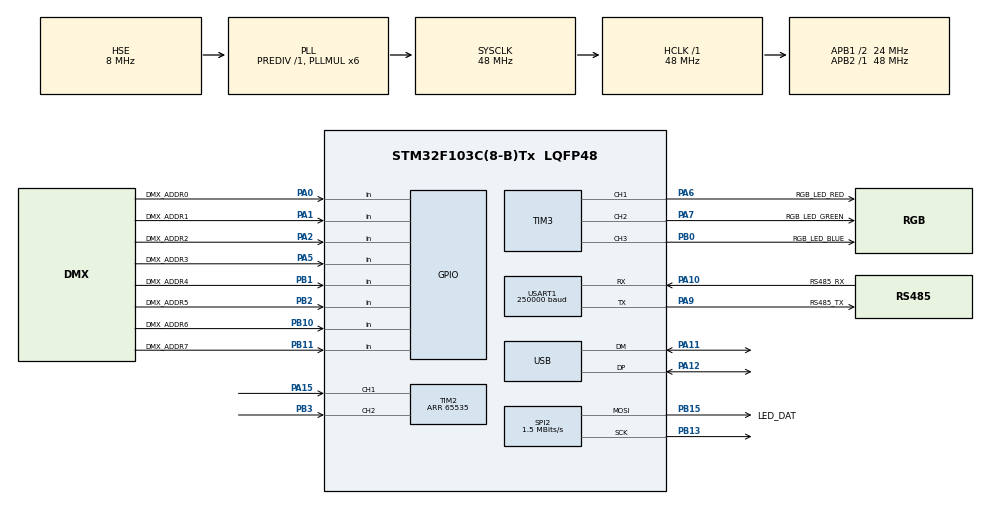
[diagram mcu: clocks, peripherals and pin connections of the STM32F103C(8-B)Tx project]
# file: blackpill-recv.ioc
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Mcu.Family=STM32F1
Mcu.Name=STM32F103C(8-B)Tx
Mcu.Package=LQFP48
NVIC.PriorityGroup=NVIC_PRIORITYGROUP_4
NVIC.TIM2_IRQn=true\:0\:0\:false\:false\:true\:true\:true\:true
NVIC.USART1_IRQn=true\:0\:0\:false\:false\:true\:true\:true\:true
NVIC.USB_LP_CAN1_RX0_IRQn=true\:0\:0\:false\:false\:true\:false\:true\:true
PA0-WKUP.GPIO_Label=DMX_ADDR0
PA0-WKUP.Signal=GPIO_Input
PA1.GPIO_Label=DMX_ADDR1
PA1.Signal=GPIO_Input
PA10.GPIO_Label=RS485_RX
PA10.Mode=Asynchronous
PA10.Signal=USART1_RX
PA11.Mode=Device
PA11.Signal=USB_DM
PA12.Mode=Device
PA12.Signal=USB_DP
PA13.Mode=Serial_Wire
PA13.Signal=SYS_JTMS-SWDIO
PA14.Mode=Serial_Wire
PA14.Signal=SYS_JTCK-SWCLK
PA15.Signal=S_TIM2_CH1_ETR
PA2.GPIO_Label=DMX_ADDR2
PA2.Signal=GPIO_Input
PA5.GPIO_Label=DMX_ADDR3
PA5.Signal=GPIO_Input
PA6.GPIO_Label=RGB_LED_RED
PA6.Signal=S_TIM3_CH1
PA7.GPIO_Label=RGB_LED_GREEN
PA7.Signal=S_TIM3_CH2
PA9.GPIO_Label=RS485_TX
PA9.Mode=Asynchronous
PA9.Signal=USART1_TX
PB0.GPIO_Label=RGB_LED_BLUE
PB0.Signal=S_TIM3_CH3
PB1.GPIO_Label=DMX_ADDR4
PB1.Signal=GPIO_Input
PB10.GPIO_Label=DMX_ADDR6
PB10.Signal=GPIO_Input
PB11.GPIO_Label=DMX_ADDR7
PB11.Signal=GPIO_Input
PB13.Mode=TX_Only_Simplex_Unidirect_Master
PB13.Signal=SPI2_SCK
PB15.GPIO_Label=LED_DAT
PB15.Mode=TX_Only_Simplex_Unidirect_Master
PB15.Signal=SPI2_MOSI
PB2.GPIO_Label=DMX_ADDR5
PB2.Signal=GPIO_Input
PB3.Signal=S_TIM2_CH2
PC14-OSC32_IN.Mode=LSE-External-Oscillator
PC14-OSC32_IN.Signal=RCC_OSC32_IN
PC15-OSC32_OUT.Mode=LSE-External-Oscillator
PC15-OSC32_OUT.Signal=RCC_OSC32_OUT
PD0-OSC_IN.Mode=HSE-External-Oscillator
PD0-OSC_IN.Signal=RCC_OSC_IN
PD1-OSC_OUT.Mode=HSE-External-Oscillator
PD1-OSC_OUT.Signal=RCC_OSC_OUT
ProjectManager.HeapSize=0x600
ProjectManager.StackSize=0x400
ProjectManager.TargetToolchain=CMake
RCC.ADCPresc=RCC_ADCPCLK2_DIV4
RCC.AHBFreq_Value=48000000
RCC.APB1CLKDivider=RCC_HCLK_DIV2
RCC.APB1Freq_Value=24000000
RCC.APB1TimFreq_Value=48000000
RCC.APB2Freq_Value=48000000
RCC.APB2TimFreq_Value=48000000
RCC.HCLKFreq_Value=48000000
RCC.PLLMUL=RCC_PLL_MUL6
RCC.SYSCLKFreq_VALUE=48000000
RCC.SYSCLKSource=RCC_SYSCLKSOURCE_PLLCLK
RCC.USBFreq_Value=48000000
SH.S_TIM2_CH1_ETR.0=TIM2_CH1,Input_Capture1_from_TI1
SH.S_TIM2_CH2.0=TIM2_CH2,Input_Capture2_from_TI2
SH.S_TIM3_CH1.0=TIM3_CH1,PWM Generation1 CH1
SH.S_TIM3_CH2.0=TIM3_CH2,PWM Generation2 CH2
SH.S_TIM3_CH3.0=TIM3_CH3,PWM Generation3 CH3
SPI2.BaudRatePrescaler=SPI_BAUDRATEPRESCALER_16
SPI2.CLKPhase=SPI_PHASE_2EDGE
SPI2.CLKPolarity=SPI_POLARITY_HIGH
SPI2.CalculateBaudRate=1.5 MBits/s
SPI2.Direction=SPI_DIRECTION_2LINES
SPI2.Mode=SPI_MODE_MASTER
SPI2.VirtualType=VM_MASTER
TIM2.Channel-Input_Capture1_from_TI1=TIM_CHANNEL_1
TIM2.Channel-Input_Capture2_from_TI2=TIM_CHANNEL_2
TIM2.ICPolarity_CH1=TIM_INPUTCHANNELPOLARITY_FALLING
TIM2.Period=65535
TIM3.Channel-PWM\ Generation1\ CH1=TIM_CHANNEL_1
TIM3.Channel-PWM\ Generation2\ CH2=TIM_CHANNEL_2
TIM3.Channel-PWM\ Generation3\ CH3=TIM_CHANNEL_3
TIM3.ClockDivision=TIM_CLOCKDIVISION_DIV4
TIM3.OCPolarity_1=TIM_OCPOLARITY_LOW
TIM3.OCPolarity_2=TIM_OCPOLARITY_LOW
TIM3.OCPolarity_3=TIM_OCPOLARITY_LOW
USART1.BaudRate=250000
USART1.Mode=MODE_RX
USART1.StopBits=STOPBITS_2
USART1.VirtualMode=VM_ASYNC
USB_DEVICE.CLASS_NAME_FS=CDC
USB_DEVICE.VirtualMode=Cdc
USB_DEVICE.VirtualModeFS=Cdc_FS
VP_TIM2_VS_ClockSourceINT.Mode=Internal
VP_TIM3_VS_ClockSourceINT.Mode=Internal
VP_USB_DEVICE_VS_USB_DEVICE_CDC_FS.Mode=CDC_FS
board=custom

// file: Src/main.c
/* USER CODE BEGIN Header */
/**
  ******************************************************************************
  * @file           : main.c
  * @brief          : Main program body
  ******************************************************************************
  * @attention
  *
  * <h2><center>&copy; Copyright (c) 2020 STMicroelectronics.
  * All rights reserved.</center></h2>
  *
  * This software component is licensed by ST under BSD 3-Clause license,
  * the "License"; You may not use this file except in compliance with the
  * License. You may obtain a copy of the License at:
  *                        opensource.org/licenses/BSD-3-Clause
  *
  ******************************************************************************
  */
/* USER CODE END Header */
#include "main.h"
#include "usb_device.h"

/* USER CODE BEGIN Includes */
#include "core.h"
/* USER CODE END Includes */

SPI_HandleTypeDef hspi2;

TIM_HandleTypeDef htim2;
TIM_HandleTypeDef htim3;

UART_HandleTypeDef huart1;

void SystemClock_Config(void);
static void MX_GPIO_Init(void);
static void MX_TIM2_Init(void);
static void MX_USART1_UART_Init(void);
static void MX_SPI2_Init(void);
static void MX_TIM3_Init(void);

int main(void)
{

  /* MCU Configuration--------------------------------------------------------*/

  /* Reset of all peripherals, Initializes the Flash interface and the Systick. */
  HAL_Init();

  /* Configure the system clock */
  SystemClock_Config();

  /* Initialize all configured peripherals */
  MX_GPIO_Init();
  MX_TIM2_Init();
  MX_USART1_UART_Init();
  MX_USB_DEVICE_Init();
  MX_SPI2_Init();
  MX_TIM3_Init();
  /* USER CODE BEGIN 2 */
  if (!core_init())
    Error_Handler();
  /* USER CODE END 2 */

  /* Infinite loop */
  while (1)
  {

    /* USER CODE BEGIN 3 */
    core_process();
  }
  /* USER CODE END 3 */
}

void SystemClock_Config(void)
{
  RCC_OscInitTypeDef RCC_OscInitStruct = {0};
  RCC_ClkInitTypeDef RCC_ClkInitStruct = {0};
  RCC_PeriphCLKInitTypeDef PeriphClkInit = {0};

  /** Initializes the RCC Oscillators according to the specified parameters
  * in the RCC_OscInitTypeDef structure.
  */
  RCC_OscInitStruct.OscillatorType = RCC_OSCILLATORTYPE_HSE;
  RCC_OscInitStruct.HSEState = RCC_HSE_ON;
  RCC_OscInitStruct.HSEPredivValue = RCC_HSE_PREDIV_DIV1;
  RCC_OscInitStruct.HSIState = RCC_HSI_ON;
  RCC_OscInitStruct.PLL.PLLState = RCC_PLL_ON;
  RCC_OscInitStruct.PLL.PLLSource = RCC_PLLSOURCE_HSE;
  RCC_OscInitStruct.PLL.PLLMUL = RCC_PLL_MUL6;
  if (HAL_RCC_OscConfig(&RCC_OscInitStruct) != HAL_OK)
  {
    Error_Handler();
  }

  /** Initializes the CPU, AHB and APB buses clocks
  */
  RCC_ClkInitStruct.ClockType = RCC_CLOCKTYPE_HCLK|RCC_CLOCKTYPE_SYSCLK
                              |RCC_CLOCKTYPE_PCLK1|RCC_CLOCKTYPE_PCLK2;
  RCC_ClkInitStruct.SYSCLKSource = RCC_SYSCLKSOURCE_PLLCLK;
  RCC_ClkInitStruct.AHBCLKDivider = RCC_SYSCLK_DIV1;
  RCC_ClkInitStruct.APB1CLKDivider = RCC_HCLK_DIV2;
  RCC_ClkInitStruct.APB2CLKDivider = RCC_HCLK_DIV1;

  if (HAL_RCC_ClockConfig(&RCC_ClkInitStruct, FLASH_LATENCY_1) != HAL_OK)
  {
    Error_Handler();
  }
  PeriphClkInit.PeriphClockSelection = RCC_PERIPHCLK_USB;
  PeriphClkInit.UsbClockSelection = RCC_USBCLKSOURCE_PLL;
  if (HAL_RCCEx_PeriphCLKConfig(&PeriphClkInit) != HAL_OK)
  {
    Error_Handler();
  }
}

static void MX_SPI2_Init(void)
{

  /* SPI2 parameter configuration*/
  hspi2.Instance = SPI2;
  hspi2.Init.Mode = SPI_MODE_MASTER;
  hspi2.Init.Direction = SPI_DIRECTION_2LINES;
  hspi2.Init.DataSize = SPI_DATASIZE_8BIT;
  hspi2.Init.CLKPolarity = SPI_POLARITY_HIGH;
  hspi2.Init.CLKPhase = SPI_PHASE_2EDGE;
  hspi2.Init.NSS = SPI_NSS_SOFT;
  hspi2.Init.BaudRatePrescaler = SPI_BAUDRATEPRESCALER_16;
  hspi2.Init.FirstBit = SPI_FIRSTBIT_MSB;
  hspi2.Init.TIMode = SPI_TIMODE_DISABLE;
  hspi2.Init.CRCCalculation = SPI_CRCCALCULATION_DISABLE;
  hspi2.Init.CRCPolynomial = 10;
  if (HAL_SPI_Init(&hspi2) != HAL_OK)
  {
    Error_Handler();
  }

}

static void MX_TIM2_Init(void)
{

  TIM_ClockConfigTypeDef sClockSourceConfig = {0};
  TIM_MasterConfigTypeDef sMasterConfig = {0};
  TIM_IC_InitTypeDef sConfigIC = {0};

  /* USER CODE BEGIN TIM2_Init 1 */
   __HAL_TIM_DISABLE_IT(&htim2, TIM_IT_CC1);
  __HAL_TIM_DISABLE_IT(&htim2, TIM_IT_CC2);
  /* USER CODE END TIM2_Init 1 */
  htim2.Instance = TIM2;
  htim2.Init.Prescaler = 0;
  htim2.Init.CounterMode = TIM_COUNTERMODE_UP;
  htim2.Init.Period = 65535;
  htim2.Init.ClockDivision = TIM_CLOCKDIVISION_DIV1;
  htim2.Init.AutoReloadPreload = TIM_AUTORELOAD_PRELOAD_DISABLE;
  if (HAL_TIM_Base_Init(&htim2) != HAL_OK)
  {
    Error_Handler();
  }
  sClockSourceConfig.ClockSource = TIM_CLOCKSOURCE_INTERNAL;
  if (HAL_TIM_ConfigClockSource(&htim2, &sClockSourceConfig) != HAL_OK)
  {
    Error_Handler();
  }
  if (HAL_TIM_IC_Init(&htim2) != HAL_OK)
  {
    Error_Handler();
  }
  sMasterConfig.MasterOutputTrigger = TIM_TRGO_RESET;
  sMasterConfig.MasterSlaveMode = TIM_MASTERSLAVEMODE_DISABLE;
  if (HAL_TIMEx_MasterConfigSynchronization(&htim2, &sMasterConfig) != HAL_OK)
  {
    Error_Handler();
  }
  sConfigIC.ICPolarity = TIM_INPUTCHANNELPOLARITY_FALLING;
  sConfigIC.ICSelection = TIM_ICSELECTION_DIRECTTI;
  sConfigIC.ICPrescaler = TIM_ICPSC_DIV1;
  sConfigIC.ICFilter = 0;
  if (HAL_TIM_IC_ConfigChannel(&htim2, &sConfigIC, TIM_CHANNEL_1) != HAL_OK)
  {
    Error_Handler();
  }
  sConfigIC.ICPolarity = TIM_INPUTCHANNELPOLARITY_RISING;
  if (HAL_TIM_IC_ConfigChannel(&htim2, &sConfigIC, TIM_CHANNEL_2) != HAL_OK)
  {
    Error_Handler();
  }
  /* USER CODE BEGIN TIM2_Init 2 */
  __HAL_TIM_ENABLE_IT(&htim2, TIM_IT_UPDATE);

  TIM_CCxChannelCmd(htim2.Instance, TIM_CHANNEL_1, TIM_CCx_ENABLE);
  TIM_CCxChannelCmd(htim2.Instance, TIM_CHANNEL_2, TIM_CCx_ENABLE);

  __HAL_TIM_DISABLE_IT(&htim2, TIM_IT_CC1);
  __HAL_TIM_DISABLE_IT(&htim2, TIM_IT_CC2);

  __HAL_TIM_CLEAR_FLAG(&htim2, TIM_IT_CC1);
  __HAL_TIM_CLEAR_FLAG(&htim2, TIM_IT_CC2);

  __HAL_TIM_ENABLE(&htim2);

  HAL_NVIC_SetPriority(TIM2_IRQn, 0, 0);
  HAL_NVIC_EnableIRQ(TIM2_IRQn);
  /* USER CODE END TIM2_Init 2 */

}

static void MX_TIM3_Init(void)
{

  TIM_ClockConfigTypeDef sClockSourceConfig = {0};
  TIM_MasterConfigTypeDef sMasterConfig = {0};
  TIM_OC_InitTypeDef sConfigOC = {0};

  htim3.Instance = TIM3;
  htim3.Init.Prescaler = 0;
  htim3.Init.CounterMode = TIM_COUNTERMODE_UP;
  htim3.Init.Period = 65535;
  htim3.Init.ClockDivision = TIM_CLOCKDIVISION_DIV4;
  htim3.Init.AutoReloadPreload = TIM_AUTORELOAD_PRELOAD_DISABLE;
  if (HAL_TIM_Base_Init(&htim3) != HAL_OK)
  {
    Error_Handler();
  }
  sClockSourceConfig.ClockSource = TIM_CLOCKSOURCE_INTERNAL;
  if (HAL_TIM_ConfigClockSource(&htim3, &sClockSourceConfig) != HAL_OK)
  {
    Error_Handler();
  }
  if (HAL_TIM_PWM_Init(&htim3) != HAL_OK)
  {
    Error_Handler();
  }
  sMasterConfig.MasterOutputTrigger = TIM_TRGO_RESET;
  sMasterConfig.MasterSlaveMode = TIM_MASTERSLAVEMODE_DISABLE;
  if (HAL_TIMEx_MasterConfigSynchronization(&htim3, &sMasterConfig) != HAL_OK)
  {
    Error_Handler();
  }
  sConfigOC.OCMode = TIM_OCMODE_PWM1;
  sConfigOC.Pulse = 0;
  sConfigOC.OCPolarity = TIM_OCPOLARITY_LOW;
  sConfigOC.OCFastMode = TIM_OCFAST_DISABLE;
  if (HAL_TIM_PWM_ConfigChannel(&htim3, &sConfigOC, TIM_CHANNEL_1) != HAL_OK)
  {
    Error_Handler();
  }
  if (HAL_TIM_PWM_ConfigChannel(&htim3, &sConfigOC, TIM_CHANNEL_2) != HAL_OK)
  {
    Error_Handler();
  }
  if (HAL_TIM_PWM_ConfigChannel(&htim3, &sConfigOC, TIM_CHANNEL_3) != HAL_OK)
  {
    Error_Handler();
  }
  HAL_TIM_MspPostInit(&htim3);

}

static void MX_USART1_UART_Init(void)
{

  huart1.Instance = USART1;
  huart1.Init.BaudRate = 250000;
  huart1.Init.WordLength = UART_WORDLENGTH_8B;
  huart1.Init.StopBits = UART_STOPBITS_2;
  huart1.Init.Parity = UART_PARITY_NONE;
  huart1.Init.Mode = UART_MODE_RX;
  huart1.Init.HwFlowCtl = UART_HWCONTROL_NONE;
  huart1.Init.OverSampling = UART_OVERSAMPLING_16;
  if (HAL_UART_Init(&huart1) != HAL_OK)
  {
    Error_Handler();
  }
  /* USER CODE BEGIN USART1_Init 2 */
  __HAL_UART_ENABLE_IT(&huart1, UART_IT_RXNE);
  __HAL_UART_ENABLE_IT(&huart1, UART_IT_ERR);
  /* USER CODE END USART1_Init 2 */

}

static void MX_GPIO_Init(void)
{
  GPIO_InitTypeDef GPIO_InitStruct = {0};

  /* GPIO Ports Clock Enable */
  __HAL_RCC_GPIOC_CLK_ENABLE();
  __HAL_RCC_GPIOD_CLK_ENABLE();
  __HAL_RCC_GPIOA_CLK_ENABLE();
  __HAL_RCC_GPIOB_CLK_ENABLE();

  /*Configure GPIO pins : DMX_ADDR0_Pin DMX_ADDR1_Pin DMX_ADDR2_Pin DMX_ADDR3_Pin */
  GPIO_InitStruct.Pin = DMX_ADDR0_Pin|DMX_ADDR1_Pin|DMX_ADDR2_Pin|DMX_ADDR3_Pin;
  GPIO_InitStruct.Mode = GPIO_MODE_INPUT;
  GPIO_InitStruct.Pull = GPIO_NOPULL;
  HAL_GPIO_Init(GPIOA, &GPIO_InitStruct);

  /*Configure GPIO pins : DMX_ADDR4_Pin DMX_ADDR5_Pin DMX_ADDR6_Pin DMX_ADDR7_Pin */
  GPIO_InitStruct.Pin = DMX_ADDR4_Pin|DMX_ADDR5_Pin|DMX_ADDR6_Pin|DMX_ADDR7_Pin;
  GPIO_InitStruct.Mode = GPIO_MODE_INPUT;
  GPIO_InitStruct.Pull = GPIO_NOPULL;
  HAL_GPIO_Init(GPIOB, &GPIO_InitStruct);

}

void Error_Handler(void)
{
}
